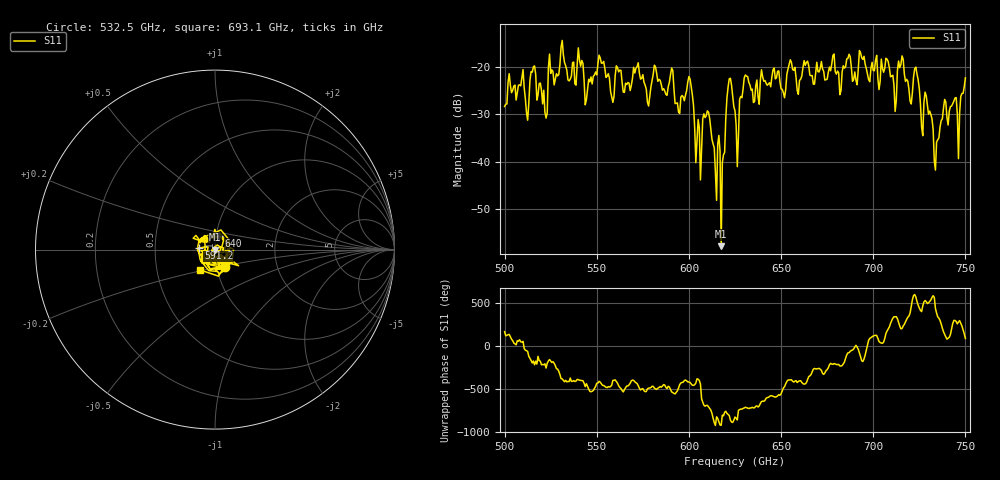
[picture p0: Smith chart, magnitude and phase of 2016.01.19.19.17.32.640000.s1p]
!Created with skrf (http://scikit-rf.org).
# GHz S RI R 50.0
!freq ReS11 ImS11
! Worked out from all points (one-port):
!   401 points, 500 GHz to 750 GHz, reference 50 ohm
!   lowest |S11| = -57.9 dB at 617.5 GHz (marker M1), VSWR 1.00, Z = 49.9 + j0.0554 ohm
!   |S11| at or under -10 dB: start of sweep to end of sweep
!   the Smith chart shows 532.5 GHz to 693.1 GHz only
!   S11 on the Smith chart (normalised r, x): 532.5 GHz: 1.10, -0.21; 591.2 GHz: 0.83, +0.01; 640 GHz: 1.03, +0.16; 693.1 GHz: 0.82, -0.19
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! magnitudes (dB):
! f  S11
! 500 GHz  -28.3
! 508.8 GHz  -24.0
! 511.9 GHz  -29.6
! 515.6 GHz  -20.0
! 521.9 GHz  -29.6
! 531.2 GHz  -14.4
! 532.5 GHz  -19.1
! 545 GHz  -24.8
! 562.5 GHz  -20.7
! 591.2 GHz  -20.7
! 593.8 GHz  -27.6
! 600.6 GHz  -22.6
! 605 GHz  -31.1
! 610 GHz  -29.3
! 617.5 GHz  -57.9
! 621.9 GHz  -22.5
! 625 GHz  -29.3
! 630.6 GHz  -21.7
! 640 GHz  -22.1
! 656.2 GHz  -20.5
! 687.5 GHz  -17.8
! 693.1 GHz  -17.0
! 718.8 GHz  -23.0
! 723.8 GHz  -21.5
! 734.4 GHz  -35.8
! 738.1 GHz  -28.7
! 746.9 GHz  -29.6
! 750 GHz  -22.3
